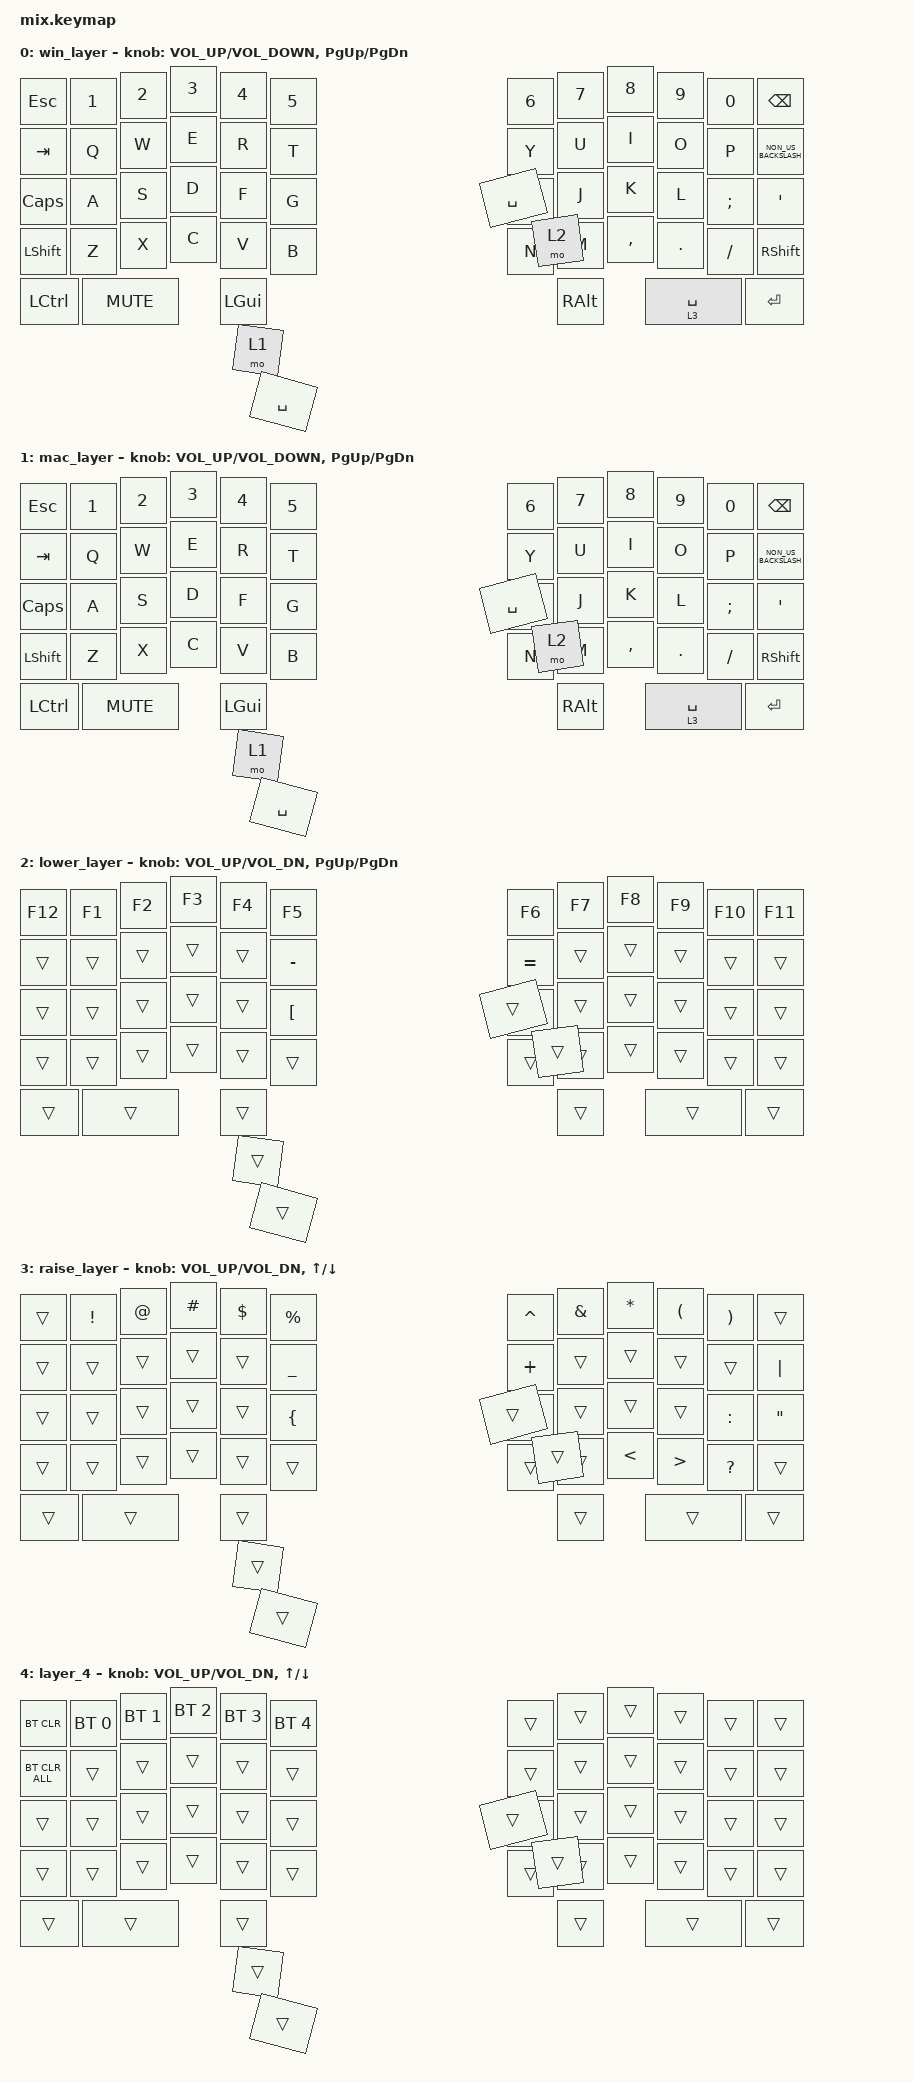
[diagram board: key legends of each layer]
/*
 * Copyright (c) 2020 The ZMK Contributors
 *
 * SPDX-License-Identifier: MIT
 */

#include <behaviors.dtsi>
#include <dt-bindings/zmk/bt.h>
#include <dt-bindings/zmk/keys.h>

#define ZMK_MOUSE_SCRL_VAL 20

/ {
    combos {
        compatible = "zmk,combos";

        boot {
            bindings = <&bootloader>;
            key-positions = <0 52 53 11>;
        };
    };

    keymap {
        compatible = "zmk,keymap";

        win_layer {
            bindings = <
&kp ESCAPE  &kp N1      &kp N2  &kp N3    &kp NUMBER_4  &kp N5     &kp NUMBER_6  &kp N7  &kp N8     &kp N9   &kp N0         &kp BSPC
&kp TAB     &kp Q       &kp W   &kp E     &kp R         &kp T      &kp Y         &kp U   &kp I      &kp O    &kp P          &kp NON_US_BACKSLASH
&kp CAPS    &kp A       &kp S   &kp D     &kp F         &kp G      &kp H         &kp J   &kp K      &kp L    &kp SEMICOLON  &kp SQT
&kp LSHFT   &kp Z       &kp X   &kp C     &kp V         &kp B      &kp N         &kp M   &kp COMMA  &kp DOT  &kp FSLH       &kp RSHFT
&kp LCTRL   &kp C_MUTE          &kp LGUI  &mo 1         &kp SPACE  &kp SPACE     &mo 2   &kp RALT            &lt 3 SPACE    &kp ENTER
            >;

            sensor-bindings =
                <&inc_dec_kp C_VOLUME_UP C_VOLUME_DOWN>,
                <&inc_dec_kp PAGE_UP PG_DN>;
        };

        mac_layer {
            bindings = <
&kp ESCAPE  &kp N1      &kp N2  &kp N3    &kp NUMBER_4  &kp N5     &kp NUMBER_6  &kp N7  &kp N8     &kp N9   &kp N0         &kp BSPC
&kp TAB     &kp Q       &kp W   &kp E     &kp R         &kp T      &kp Y         &kp U   &kp I      &kp O    &kp P          &kp NON_US_BACKSLASH
&kp CAPS    &kp A       &kp S   &kp D     &kp F         &kp G      &kp H         &kp J   &kp K      &kp L    &kp SEMICOLON  &kp SQT
&kp LSHFT   &kp Z       &kp X   &kp C     &kp V         &kp B      &kp N         &kp M   &kp COMMA  &kp DOT  &kp FSLH       &kp RSHFT
&kp LCTRL   &kp C_MUTE          &kp LGUI  &mo 1         &kp SPACE  &kp SPACE     &mo 2   &kp RALT            &lt 3 SPACE    &kp ENTER
            >;

            sensor-bindings =
                <&inc_dec_kp C_VOLUME_UP C_VOLUME_DOWN>,
                <&inc_dec_kp PAGE_UP PG_DN>;
        };

        lower_layer {
            bindings = <
&kp F12  &kp F1  &kp F2  &kp F3  &kp F4  &kp F5            &kp F6             &kp F7  &kp F8  &kp F9  &kp F10  &kp F11
&trans   &trans  &trans  &trans  &trans  &kp MINUS         &kp EQUAL          &trans  &trans  &trans  &trans   &trans
&trans   &trans  &trans  &trans  &trans  &kp LEFT_BRACKET  &kp RIGHT_BRACKET  &trans  &trans  &trans  &trans   &trans
&trans   &trans  &trans  &trans  &trans  &trans            &trans             &trans  &trans  &trans  &trans   &trans
&trans   &trans          &trans  &trans  &trans            &trans             &trans  &trans          &trans   &trans
            >;

            sensor-bindings = <&inc_dec_kp C_VOL_UP C_VOL_DN &inc_dec_kp PG_UP PG_DN>;
        };

        raise_layer {
            bindings = <
&trans  &kp EXCLAMATION  &kp AT_SIGN  &kp HASH  &kp DOLLAR  &kp PERCENT     &kp CARET        &kp AMPERSAND  &kp ASTERISK   &kp LEFT_PARENTHESIS  &kp RIGHT_PARENTHESIS  &trans
&trans  &trans           &trans       &trans    &trans      &kp UNDERSCORE  &kp PLUS         &trans         &trans         &trans                &trans                 &kp PIPE
&trans  &trans           &trans       &trans    &trans      &kp LEFT_BRACE  &kp RIGHT_BRACE  &trans         &trans         &trans                &kp COLON              &kp DOUBLE_QUOTES
&trans  &trans           &trans       &trans    &trans      &trans          &trans           &trans         &kp LESS_THAN  &kp GREATER_THAN      &kp QUESTION           &trans
&trans  &trans                        &trans    &trans      &trans          &trans           &trans         &trans                               &trans                 &trans
            >;

            sensor-bindings =
                <&inc_dec_kp C_VOL_UP C_VOL_DN>,
                <&inc_dec_kp UP_ARROW DOWN>;
        };

        layer_4 {
            bindings = <
&bt BT_CLR      &bt BT_SEL 0  &bt BT_SEL 1  &bt BT_SEL 2  &bt BT_SEL 3  &bt BT_SEL 4  &trans  &trans  &trans  &trans  &trans  &trans
&bt BT_CLR_ALL  &trans        &trans        &trans        &trans        &trans        &trans  &trans  &trans  &trans  &trans  &trans
&trans          &trans        &trans        &trans        &trans        &trans        &trans  &trans  &trans  &trans  &trans  &trans
&trans          &trans        &trans        &trans        &trans        &trans        &trans  &trans  &trans  &trans  &trans  &trans
&trans          &trans                      &trans        &trans        &trans        &trans  &trans  &trans          &trans  &trans
            >;

            sensor-bindings =
                <&inc_dec_kp C_VOL_UP C_VOL_DN>,
                <&inc_dec_kp UP_ARROW DOWN_ARROW>;
        };
    };
};
